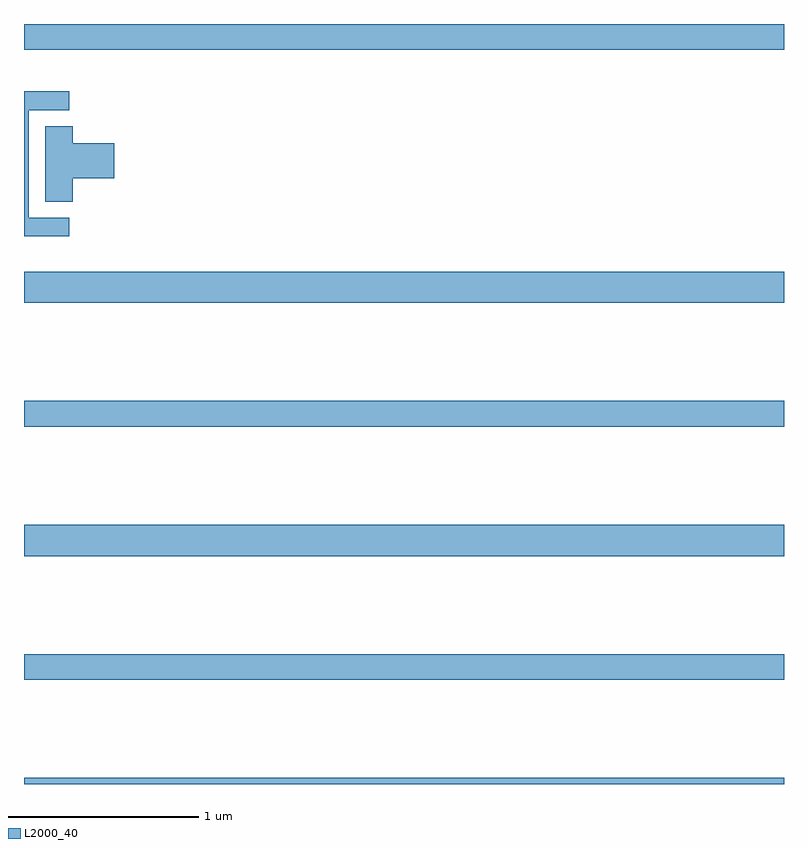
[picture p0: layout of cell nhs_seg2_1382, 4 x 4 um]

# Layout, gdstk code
import gdstk
lib = gdstk.Library(unit=1e-6, precision=1e-09)
def R(c, l, rs):  # rectangles x0, y0, x1, y1
    for r in rs: c.add(gdstk.rectangle(r[:2], r[2:], *l))
def P(c, l, *ps):  # polygons
    for p in ps: c.add(gdstk.Polygon(p, *l))
L2000_40 = (2000, 40)

nhs_seg2_1382 = lib.new_cell('nhs_seg2_1382')
R(nhs_seg2_1382, L2000_40, [(183,615.8,187,615.832), (183,616.348,187,616.484), (183,617,187,617.164), (183,617.68,187,617.816), (183,618.332,187,618.496), (183,619.664,187,619.8)])
P(nhs_seg2_1382, L2000_40, [(183.238,618.78),(183.024,618.78),(183.024,619.347),(183.238,619.347),(183.238,619.446),(183,619.446),(183,618.684),(183.238,618.684)],
  [(183.257,618.989),(183.475,618.989),(183.475,619.172),(183.257,619.172),(183.257,619.262),(183.113,619.262),(183.113,618.865),(183.257,618.865)])

lib.write_gds('nhs_seg2_1382.gds')
